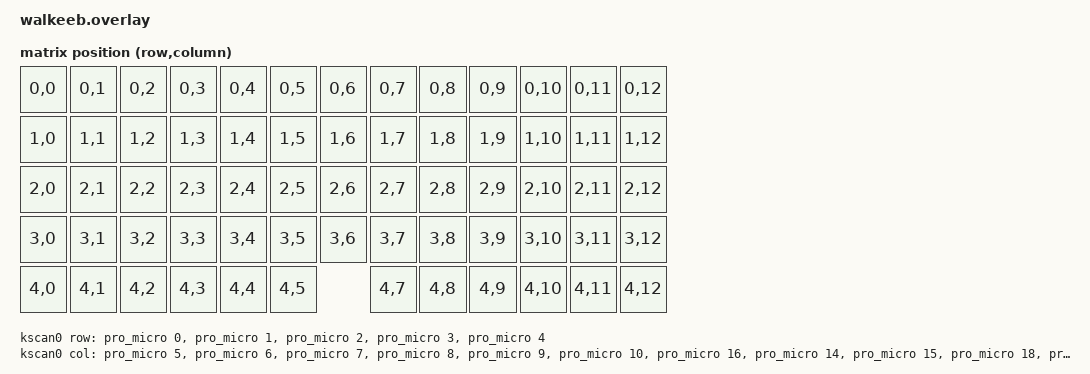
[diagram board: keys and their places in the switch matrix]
#include <dt-bindings/gpio/gpio.h>
#include <dt-bindings/zmk/matrix_transform.h>

/ {
    chosen {
        zmk,kscan = &kscan0;
        zmk,physical-layout = &physical_layout0;
    };

    kscan0: kscan {
        compatible = "zmk,kscan-gpio-matrix";
        /*
         * Diode stripe/cathode side is on the row side.
         * In ZMK terms that is col2row: diodes point from columns to rows.
         */
        diode-direction = "col2row";
        debounce-press-ms = <10>;
        debounce-release-ms = <20>;
        wakeup-source;

        /*
         * nice!nano / Pro Micro D-pin aliases.
         * Rows: D0-D4.
         * Columns: D5, D6, D7, D8, D9, D10, D16, D14, D15, D18, D19, D20, D21.
         */
        row-gpios
            = <&pro_micro 0 (GPIO_ACTIVE_HIGH | GPIO_PULL_DOWN)>
            , <&pro_micro 1 (GPIO_ACTIVE_HIGH | GPIO_PULL_DOWN)>
            , <&pro_micro 2 (GPIO_ACTIVE_HIGH | GPIO_PULL_DOWN)>
            , <&pro_micro 3 (GPIO_ACTIVE_HIGH | GPIO_PULL_DOWN)>
            , <&pro_micro 4 (GPIO_ACTIVE_HIGH | GPIO_PULL_DOWN)>
            ;

        col-gpios
            = <&pro_micro 5 GPIO_ACTIVE_HIGH>
            , <&pro_micro 6 GPIO_ACTIVE_HIGH>
            , <&pro_micro 7 GPIO_ACTIVE_HIGH>
            , <&pro_micro 8 GPIO_ACTIVE_HIGH>
            , <&pro_micro 9 GPIO_ACTIVE_HIGH>
            , <&pro_micro 10 GPIO_ACTIVE_HIGH>
            , <&pro_micro 16 GPIO_ACTIVE_HIGH>
            , <&pro_micro 14 GPIO_ACTIVE_HIGH>
            , <&pro_micro 15 GPIO_ACTIVE_HIGH>
            , <&pro_micro 18 GPIO_ACTIVE_HIGH>
            , <&pro_micro 19 GPIO_ACTIVE_HIGH>
            , <&pro_micro 20 GPIO_ACTIVE_HIGH>
            , <&pro_micro 21 GPIO_ACTIVE_HIGH>
            ;
    };

    default_transform: keymap_transform0 {
        compatible = "zmk,matrix-transform";
        rows = <5>;
        columns = <13>;
        map = <
//          Esc     1       2       3       4       5       6       7       8       9       0       +       Back
            RC(0,0) RC(0,1) RC(0,2) RC(0,3) RC(0,4) RC(0,5) RC(0,6) RC(0,7) RC(0,8) RC(0,9) RC(0,10) RC(0,11) RC(0,12)
//          Tab     Q       W       E       R       T       Y       U       I       O       P       AA      Del
            RC(1,0) RC(1,1) RC(1,2) RC(1,3) RC(1,4) RC(1,5) RC(1,6) RC(1,7) RC(1,8) RC(1,9) RC(1,10) RC(1,11) RC(1,12)
//          Caps    A       S       D       F       G       H       J       K       L       OE      AE      Enter
            RC(2,0) RC(2,1) RC(2,2) RC(2,3) RC(2,4) RC(2,5) RC(2,6) RC(2,7) RC(2,8) RC(2,9) RC(2,10) RC(2,11) RC(2,12)
//          Shift   Z       X       C       V       B       N       M       ,       .       -       Up      Shift
            RC(3,0) RC(3,1) RC(3,2) RC(3,3) RC(3,4) RC(3,5) RC(3,6) RC(3,7) RC(3,8) RC(3,9) RC(3,10) RC(3,11) RC(3,12)
//          Ctrl    Win     Alt     Fn      Space   Enter   gap C6  Space   Fn      AltGr   Left    Down    Right
            RC(4,0) RC(4,1) RC(4,2) RC(4,3) RC(4,4) RC(4,5)          RC(4,7) RC(4,8) RC(4,9) RC(4,10) RC(4,11) RC(4,12)
        >;
    };

    physical_layout0: physical_layout_0 {
        compatible = "zmk,physical-layout";
        display-name = "Default Layout";
        kscan = <&kscan0>;
        transform = <&default_transform>;
    };
};
